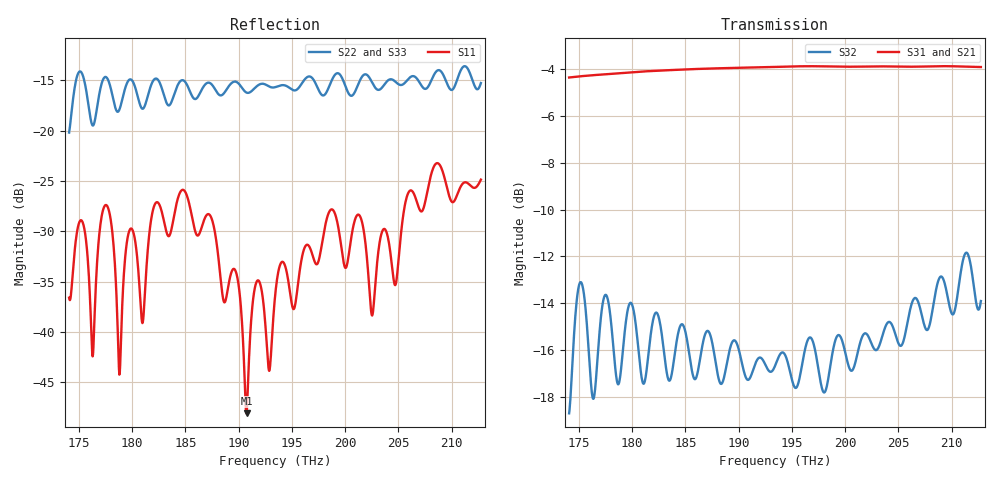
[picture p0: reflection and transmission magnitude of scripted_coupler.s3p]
! TOUCHSTONE file generated by CST MICROWAVE STUDIO
! Date and time: Fri Oct 07 12:43:53 2016
! Project name: scripted_coupler.cst
! Header version: 2015
! Port assignment regex: !\s*Touchstone port\s*([0-9]+)\s*=\s*CST MWS port\s*([0-9]+)\s*\(\"(.*)\"\)(\s*mode\s*([0-9]+))?.*
! Touchstone port assignment:
! Touchstone port 1 = CST MWS port 1 ("in")
! Touchstone port 2 = CST MWS port 2 ("out1")
! Touchstone port 3 = CST MWS port 3 ("out2")
! S-Parameters are not renormalized. Unphysical impedance of 50 will be written to the file.
# GHZ S MA R 50
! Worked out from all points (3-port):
!   1001 points, 174.1 THz to 212.8 THz, reference per port
!   strongest paths, dB at 174.1 THz, 183.7 THz, 193.4 THz, 203.1 THz, 212.8 THz:
!     S31: -4.4, -4.0, -3.9, -3.9, -3.9
!     S21: -4.3, -4.0, -3.9, -3.9, -3.9
!     S32: -18.7, -17.0, -16.7, -15.9, -13.9
!   lowest |S11| = -48.1 dB at 190.7 THz (marker M1), VSWR 1.01
!   |S11| at or under -10 dB: start of sweep to end of sweep
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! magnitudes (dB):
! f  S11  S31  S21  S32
! 174.1 THz  -36.6  -4.4  -4.3  -18.7
! 175.3 THz  -28.9  -4.3  -4.3  -13.2
! 176.3 THz  -42.2  -4.3  -4.2  -18.1
! 177.6 THz  -27.4  -4.2  -4.2  -13.7
! 178.8 THz  -44.1  -4.2  -4.2  -17.3
! 179.8 THz  -29.9  -4.1  -4.1  -14.0
! 184.8 THz  -25.9  -4.0  -4.0  -15.0
! 190.7 THz  -48.1  -3.9  -3.9  -17.2
! 193.5 THz  -36.1  -3.9  -3.9  -16.6
! 212.8 THz  -24.9  -3.9  -3.9  -13.9
